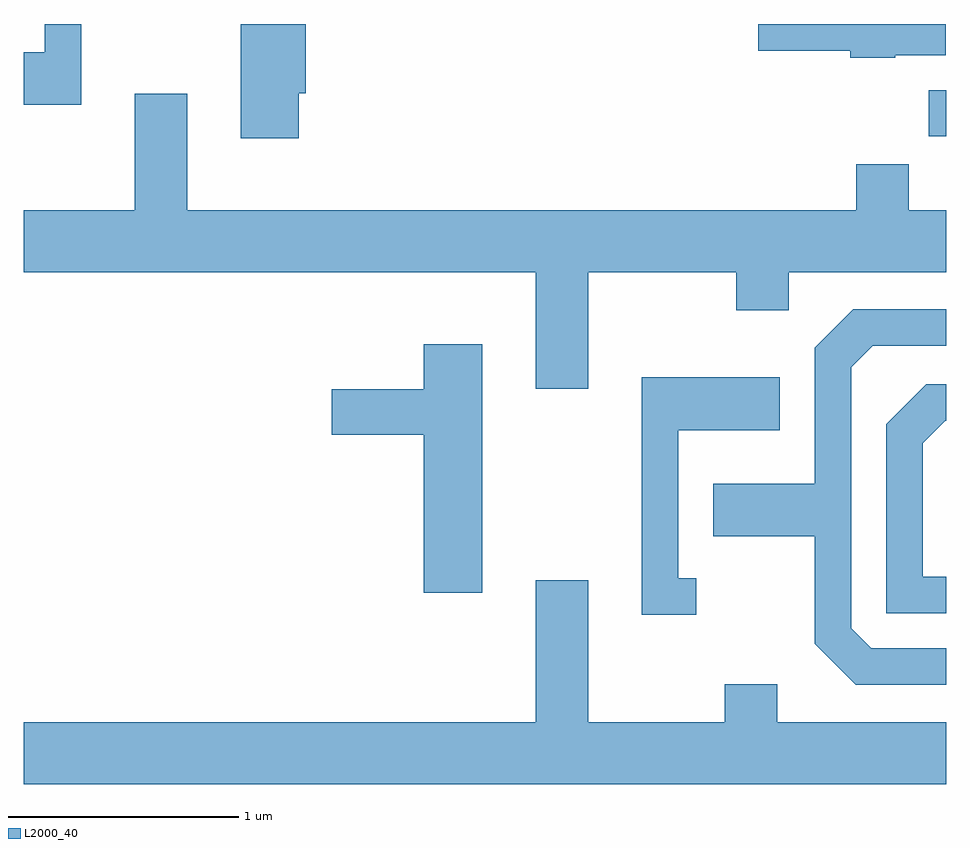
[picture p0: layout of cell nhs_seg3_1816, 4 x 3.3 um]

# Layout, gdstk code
import gdstk
lib = gdstk.Library(unit=1e-6, precision=1e-09)
def R(c, l, rs):  # rectangles x0, y0, x1, y1
    for r in rs: c.add(gdstk.rectangle(r[:2], r[2:], *l))
def P(c, l, *ps):  # polygons
    for p in ps: c.add(gdstk.Polygon(p, *l))
L2000_40 = (2000, 40)

nhs_seg3_1816 = lib.new_cell('nhs_seg3_1816')
R(nhs_seg3_1816, L2000_40, [(241.536,1215.406,241.611,1215.604)])
P(nhs_seg3_1816, L2000_40, [(241.39,1215.756),(241.609,1215.756),(241.609,1215.892),(240.796,1215.892),(240.796,1215.776),(241.196,1215.776),(241.196,1215.746),(241.39,1215.746)],
  [(238.804,1215.591),(238.834,1215.591),(238.834,1215.892),(238.551,1215.892),(238.551,1215.396),(238.804,1215.396)],
  [(237.859,1215.892),(237.701,1215.892),(237.701,1215.769),(237.611,1215.769),(237.611,1215.541),(237.859,1215.541)],
  [(240.059,1214.816),(240.701,1214.816),(240.701,1214.651),(240.929,1214.651),(240.929,1214.816),(241.611,1214.816),(241.611,1215.084),(241.449,1215.084),(241.449,1215.284),(241.221,1215.284),(241.221,1215.084),(238.319,1215.084),(238.319,1215.589),(238.091,1215.589),(238.091,1215.084),(237.611,1215.084),(237.611,1214.816),(239.831,1214.816),(239.831,1214.311),(240.059,1214.311)],
  [(241.611,1213.184),(241.287,1213.184),(241.199,1213.272),(241.199,1214.404),(241.292,1214.496),(241.611,1214.496),(241.611,1214.654),(241.209,1214.654),(241.041,1214.487),(241.041,1213.899),(240.601,1213.899),(240.601,1213.671),(241.041,1213.671),(241.041,1213.204),(241.219,1213.026),(241.611,1213.026)],
  [(239.599,1214.504),(239.346,1214.504),(239.346,1214.309),(238.946,1214.309),(238.946,1214.111),(239.346,1214.111),(239.346,1213.426),(239.599,1213.426)],
  [(240.528,1213.489),(240.449,1213.489),(240.449,1214.131),(240.889,1214.131),(240.889,1214.359),(240.291,1214.359),(240.291,1213.331),(240.528,1213.331)],
  [(241.611,1213.494),(241.509,1213.494),(241.509,1214.074),(241.607,1214.171),(241.611,1214.171),(241.611,1214.329),(241.524,1214.329),(241.351,1214.157),(241.351,1213.336),(241.611,1213.336)],
  [(241.611,1212.864),(240.879,1212.864),(240.879,1213.029),(240.651,1213.029),(240.651,1212.864),(240.059,1212.864),(240.059,1213.479),(239.831,1213.479),(239.831,1212.864),(237.611,1212.864),(237.611,1212.596),(241.611,1212.596)])

lib.write_gds('nhs_seg3_1816.gds')
